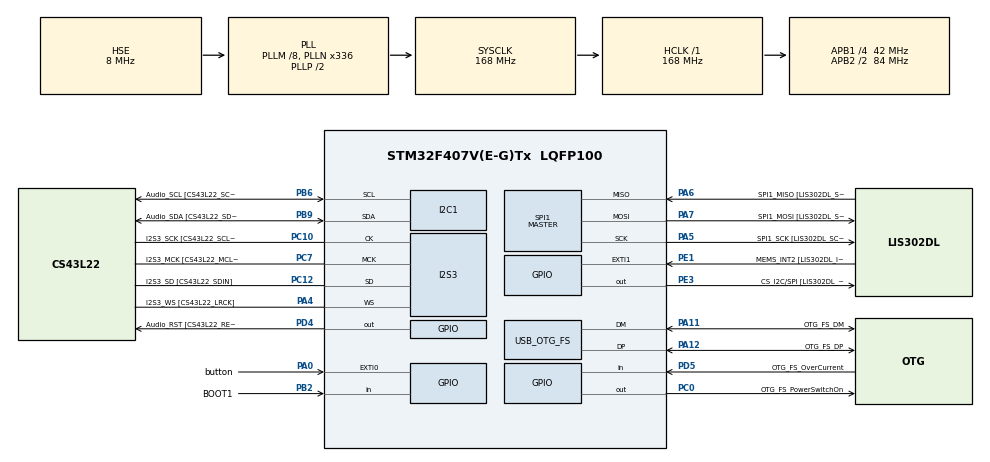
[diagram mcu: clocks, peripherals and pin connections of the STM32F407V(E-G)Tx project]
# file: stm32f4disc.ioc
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Dma.Request0=SPI3_TX
Dma.SPI3_TX.0.Direction=DMA_MEMORY_TO_PERIPH
Dma.SPI3_TX.0.FIFOMode=DMA_FIFOMODE_ENABLE
Dma.SPI3_TX.0.FIFOThreshold=DMA_FIFO_THRESHOLD_FULL
Dma.SPI3_TX.0.Instance=DMA1_Stream5
Dma.SPI3_TX.0.MemBurst=DMA_MBURST_SINGLE
Dma.SPI3_TX.0.MemDataAlignment=DMA_MDATAALIGN_HALFWORD
Dma.SPI3_TX.0.MemInc=DMA_MINC_ENABLE
Dma.SPI3_TX.0.Mode=DMA_CIRCULAR
Dma.SPI3_TX.0.PeriphBurst=DMA_PBURST_SINGLE
Dma.SPI3_TX.0.PeriphDataAlignment=DMA_PDATAALIGN_HALFWORD
Dma.SPI3_TX.0.PeriphInc=DMA_PINC_DISABLE
Dma.SPI3_TX.0.Priority=DMA_PRIORITY_LOW
I2S3.AudioFreq=I2S_AUDIOFREQ_48K
I2S3.AudioFreq-Half_Duplex_Master=I2S_AUDIOFREQ_96K
I2S3.ErrorAudioFreq=-2.34 %
I2S3.ErrorAudioFreq-Half_Duplex_Master=0.8 %
I2S3.FullDuplexMode=I2S_FULLDUPLEXMODE_DISABLE
I2S3.Instance=SPI$Index
I2S3.RealAudioFreq=46.875 KHz
I2S3.RealAudioFreq-Half_Duplex_Master=96.774 KHz
I2S3.Standard=I2S_STANDARD_LSB
I2S3.VirtualMode=I2S_MODE_MASTER
Mcu.Family=STM32F4
Mcu.Name=STM32F407V(E-G)Tx
Mcu.Package=LQFP100
NVIC.DMA1_Stream5_IRQn=true\:0\:0\:false\:false\:true\:false\:true\:true
NVIC.EXTI0_IRQn=true\:0\:0\:false\:false\:true\:true\:true\:true
NVIC.OTG_FS_IRQn=true\:0\:0\:false\:false\:true\:true\:true\:true
NVIC.PVD_IRQn=true\:0\:0\:false\:false\:true\:true\:true\:true
NVIC.PriorityGroup=NVIC_PRIORITYGROUP_0
NVIC.SPI3_IRQn=true\:0\:0\:false\:false\:true\:true\:true\:true
NVIC.TIM1_TRG_COM_TIM11_IRQn=true\:0\:0\:false\:false\:true\:true\:true\:true
NVIC.TIM1_UP_TIM10_IRQn=true\:0\:0\:false\:false\:true\:true\:true\:true
PA0-WKUP.GPIO_Label=button
PA0-WKUP.Signal=GPXTI0
PA10.GPIO_Label=OTG_FS_ID
PA10.GPIO_Mode=GPIO_MODE_AF_PP
PA10.GPIO_PuPd=GPIO_NOPULL
PA10.GPIO_Speed=GPIO_SPEED_FREQ_LOW
PA10.Signal=USB_OTG_FS_ID
PA11.GPIO_Label=OTG_FS_DM
PA11.GPIO_Mode=GPIO_MODE_AF_PP
PA11.GPIO_PuPd=GPIO_NOPULL
PA11.GPIO_Speed=GPIO_SPEED_FREQ_LOW
PA11.Mode=Device_Only
PA11.Signal=USB_OTG_FS_DM
PA12.GPIO_Label=OTG_FS_DP
PA12.GPIO_Mode=GPIO_MODE_AF_PP
PA12.GPIO_PuPd=GPIO_NOPULL
PA12.GPIO_Speed=GPIO_SPEED_FREQ_LOW
PA12.Mode=Device_Only
PA12.Signal=USB_OTG_FS_DP
PA13.GPIO_Label=SWDIO
PA13.Mode=Serial_Wire
PA13.Signal=SYS_JTMS-SWDIO
PA14.GPIO_Label=SWCLK
PA14.Mode=Serial_Wire
PA14.Signal=SYS_JTCK-SWCLK
PA4.GPIO_Label=I2S3_WS [CS43L22_LRCK]
PA4.GPIO_Mode=GPIO_MODE_AF_PP
PA4.GPIO_PuPd=GPIO_NOPULL
PA4.GPIO_Speed=GPIO_SPEED_FREQ_LOW
PA4.Mode=Half_Duplex_Master
PA4.Signal=I2S3_WS
PA5.GPIO_Label=SPI1_SCK [LIS302DL_SCL/SPC]
PA5.GPIO_Mode=GPIO_MODE_AF_PP
PA5.GPIO_PuPd=GPIO_NOPULL
PA5.GPIO_Speed=GPIO_SPEED_FREQ_LOW
PA5.Mode=Full_Duplex_Master
PA5.Signal=SPI1_SCK
PA6.GPIO_Label=SPI1_MISO [LIS302DL_SDO]
PA6.GPIO_Mode=GPIO_MODE_AF_PP
PA6.GPIO_PuPd=GPIO_NOPULL
PA6.GPIO_Speed=GPIO_SPEED_FREQ_LOW
PA6.Mode=Full_Duplex_Master
PA6.Signal=SPI1_MISO
PA7.GPIO_Label=SPI1_MOSI [LIS302DL_SDA/SDI/SDO]
PA7.GPIO_Mode=GPIO_MODE_AF_PP
PA7.GPIO_PuPd=GPIO_NOPULL
PA7.GPIO_Speed=GPIO_SPEED_FREQ_LOW
PA7.Mode=Full_Duplex_Master
PA7.Signal=SPI1_MOSI
PA9.GPIO_Label=VBUS_FS
PA9.GPIO_Mode=GPIO_MODE_INPUT
PA9.GPIO_PuPd=GPIO_NOPULL
PA9.Signal=USB_OTG_FS_VBUS
PB10.GPIO_Label=CLK_IN [MP45DT02_CLK]
PB10.GPIO_Mode=GPIO_MODE_AF_PP
PB10.GPIO_PuPd=GPIO_NOPULL
PB10.GPIO_Speed=GPIO_SPEED_FREQ_LOW
PB10.Signal=I2S2_CK
PB2.GPIO_Label=BOOT1
PB2.GPIO_Mode=GPIO_MODE_INPUT
PB2.GPIO_PuPd=GPIO_NOPULL
PB2.Signal=GPIO_Input
PB3.GPIO_Label=SWO
PB3.Signal=SYS_JTDO-SWO
PB6.GPIO_Label=Audio_SCL [CS43L22_SCL]
PB6.GPIO_Mode=GPIO_MODE_AF_OD
PB6.GPIO_Pu=GPIO_PULLUP
PB6.GPIO_PuPd=GPIO_NOPULL
PB6.GPIO_Speed=GPIO_SPEED_FREQ_LOW
PB6.Mode=I2C
PB6.Signal=I2C1_SCL
PB9.GPIO_Label=Audio_SDA [CS43L22_SDA]
PB9.GPIO_Mode=GPIO_MODE_AF_OD
PB9.GPIO_Pu=GPIO_PULLUP
PB9.GPIO_PuPd=GPIO_NOPULL
PB9.GPIO_Speed=GPIO_SPEED_FREQ_LOW
PB9.Mode=I2C
PB9.Signal=I2C1_SDA
PC0.GPIO_Label=OTG_FS_PowerSwitchOn
PC0.GPIO_PuPd=GPIO_NOPULL
PC0.GPIO_Speed=GPIO_SPEED_FREQ_LOW
PC0.PinState=GPIO_PIN_SET
PC0.Signal=GPIO_Output
PC10.GPIO_Label=I2S3_SCK [CS43L22_SCLK]
PC10.GPIO_Mode=GPIO_MODE_AF_PP
PC10.GPIO_PuPd=GPIO_NOPULL
PC10.GPIO_Speed=GPIO_SPEED_FREQ_LOW
PC10.Mode=Half_Duplex_Master
PC10.Signal=I2S3_CK
PC12.GPIO_Label=I2S3_SD [CS43L22_SDIN]
PC12.GPIO_Mode=GPIO_MODE_AF_PP
PC12.GPIO_PuPd=GPIO_NOPULL
PC12.GPIO_Speed=GPIO_SPEED_FREQ_LOW
PC12.Mode=Half_Duplex_Master
PC12.Signal=I2S3_SD
PC14-OSC32_IN.GPIO_Label=PC14-OSC32_IN
PC14-OSC32_IN.Mode=LSE-External-Oscillator
PC14-OSC32_IN.Signal=RCC_OSC32_IN
PC15-OSC32_OUT.GPIO_Label=PC15-OSC32_OUT
PC15-OSC32_OUT.Mode=LSE-External-Oscillator
PC15-OSC32_OUT.Signal=RCC_OSC32_OUT
PC3.GPIO_Label=PDM_OUT [MP45DT02_DOUT]
PC3.GPIO_Mode=GPIO_MODE_AF_PP
PC3.GPIO_PuPd=GPIO_NOPULL
PC3.GPIO_Speed=GPIO_SPEED_FREQ_LOW
PC3.Signal=I2S2_SD
PC7.GPIO_Label=I2S3_MCK [CS43L22_MCLK]
PC7.GPIO_Mode=GPIO_MODE_AF_PP
PC7.GPIO_PuPd=GPIO_NOPULL
PC7.GPIO_Speed=GPIO_SPEED_FREQ_LOW
PC7.Mode=Master_Clock_Activated
PC7.Signal=I2S3_MCK
PD4.GPIO_Label=Audio_RST [CS43L22_RESET]
PD4.GPIO_PuPd=GPIO_NOPULL
PD4.GPIO_Speed=GPIO_SPEED_FREQ_LOW
PD4.Signal=GPIO_Output
PD5.GPIO_Label=OTG_FS_OverCurrent
PD5.GPIO_Mode=GPIO_MODE_INPUT
PD5.GPIO_PuPd=GPIO_NOPULL
PD5.Signal=GPIO_Input
PE1.GPIO_Label=MEMS_INT2 [LIS302DL_INT2]
PE1.GPIO_ModeDefaultEXTI=GPIO_MODE_EVT_RISING
PE1.GPIO_PuPd=GPIO_NOPULL
PE1.Signal=GPXTI1
PE3.GPIO_Label=CS_I2C/SPI [LIS302DL_CS_I2C/SPI]
PE3.GPIO_PuPd=GPIO_NOPULL
PE3.GPIO_Speed=GPIO_SPEED_FREQ_LOW
PE3.Signal=GPIO_Output
PH0-OSC_IN.GPIO_Label=PH0-OSC_IN
PH0-OSC_IN.Mode=HSE-External-Oscillator
PH0-OSC_IN.Signal=RCC_OSC_IN
PH1-OSC_OUT.GPIO_Label=PH1-OSC_OUT
PH1-OSC_OUT.Mode=HSE-External-Oscillator
PH1-OSC_OUT.Signal=RCC_OSC_OUT
ProjectManager.HeapSize=0x600
ProjectManager.StackSize=0x400
ProjectManager.TargetToolchain=STM32CubeIDE
RCC.48MHZClocksFreq_Value=48000000
RCC.AHBFreq_Value=168000000
RCC.APB1CLKDivider=RCC_HCLK_DIV4
RCC.APB1Freq_Value=42000000
RCC.APB1TimFreq_Value=84000000
RCC.APB2CLKDivider=RCC_HCLK_DIV2
RCC.APB2Freq_Value=84000000
RCC.APB2TimFreq_Value=168000000
RCC.CortexFreq_Value=168000000
RCC.HCLKFreq_Value=168000000
RCC.HSE_VALUE=8000000
RCC.HSI_VALUE=16000000
RCC.PLLM=8
RCC.PLLN=336
RCC.PLLQ=7
RCC.SYSCLKFreq_VALUE=168000000
RCC.SYSCLKSource=RCC_SYSCLKSOURCE_PLLCLK
RCC.VCOOutputFreq_Value=336000000
SPI1.BaudRatePrescaler-Full_Duplex_Master=SPI_BAUDRATEPRESCALER_2
SPI1.CalculateBaudRate-Full_Duplex_Master=42.0 MBits/s
SPI1.Direction=SPI_DIRECTION_2LINES
SPI1.Mode=SPI_MODE_MASTER
SPI1.Mode-Full_Duplex_Master=SPI_MODE_MASTER
SPI1.VirtualType=VM_MASTER
USB_DEVICE.CLASS_NAME_FS=CDC
USB_DEVICE.VirtualMode-CDC_FS=Cdc
USB_DEVICE.VirtualModeFS=Cdc_FS
USB_OTG_FS.VirtualMode=Device_Only
VP_TIM10_VS_ClockSourceINT.Mode=Enable_Timer
VP_TIM11_VS_ClockSourceINT.Mode=Enable_Timer
VP_USB_DEVICE_VS_USB_DEVICE_CDC_FS.Mode=CDC_FS
board=STM32F407G-DISC1

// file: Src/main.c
/* USER CODE BEGIN Header */
/**
******************************************************************************
* @file           : main.c
* @brief          : Main program body
******************************************************************************
* @attention
*
* Copyright (c) 2025 STMicroelectronics.
* All rights reserved.
*
* This software is licensed under terms that can be found in the LICENSE file
* in the root directory of this software component.
* If no LICENSE file comes with this software, it is provided AS-IS.
*
******************************************************************************
*/
/* USER CODE END Header */
#include "main.h"
#include "dma.h"
#include "i2c.h"
#include "i2s.h"
#include "spi.h"
#include "tim.h"
#include "usb_device.h"
#include "gpio.h"

/* USER CODE BEGIN Includes */
#include "usbd_cdc_if.h"
#include "cs43l22.h"
#include "math.h"
#include "stm32f4_discovery.h"
#include "stm32f4_discovery_accelerometer.h"
// #include "usb_device.c"
// #include "usbd_conf.c"

extern PCD_HandleTypeDef hpcd_USB_OTG_FS;
extern USBD_HandleTypeDef hUsbDeviceFS;

/* USER CODE END Includes */

/* USER CODE BEGIN PD */
#define LINE_BUFFER_SIZE 256

// macros to define the sine signal
#define FAST_SIN_FREQ 1000
#define SLOW_SIN_FREQ 500

#define SAMPLING_RATE 48000
#define AUDIO_BUFFER_LENGTH SAMPLING_RATE / SLOW_SIN_FREQ

/* USER CODE END PD */

/* USER CODE BEGIN PV */
const uint8_t ISR_FLAG_RX    = 0x01;  // Received data
const uint8_t ISR_FLAG_TIM10 = 0x02;  // Timer 10 Period elapsed
const uint8_t ISR_FLAG_TIM11 = 0x04;  // Timer 10 Period elapsed
const uint8_t ISR_BUTTON_PRESS = 0x08;  // User button pressed
volatile int16_t accel_data[3];

// This is the only variable that we will modify both in the ISR and in the main loop
// It has to be declared volatile to prevent the compiler from optimizing it out.
volatile uint8_t isr_flags = 0;

// Commands that we will receive from the PC
int status = 0;
int manual = 0;
const int frequ[3] = {200,3000,9000}; // Possible periods for the PWM (in timer ticks)
int duty_cycle= 25;
volatile int period = 200; //in timer ticks
const int duty[3] = {25,50,75}; // Possible duty cycles for the PWM
unsigned long int ticks_elapsed = 0;
char is_recording = 0;
float pwm_freq;
static int current_duty_index = 0;
static int manual_toggle = 0;
// Command Description
// stop Put Board in stop mode
// standby Put Board in standby mode
// changefreq Set the PWM frequency to the next possible value
// changedut Set the PWM duty cycle to the next possible value
// pwmman Set PWM frequency with user button
// ledpwm Set the LED BLINK to PWM mode
// ledman Set the LED BLINK to manual mode
// ledon Turn ON the LED BLINK
// ledoff Turn OFF the LED BLINK
// accon Enable accelerometer readings
// accoff Disable accelerometer readings
// mute Mute audible signal
// unmute Un-mute audible signa

const uint8_t COMMAND_STOP[]        = "stop"; // Go to stop mode
const uint8_t COMMAND_STANDBY[]     = "standby"; // Go to standby mode
const uint8_t COMMAND_CHANGE_FREQ[] = "changefreq"; // Change the PWM frequency
const uint8_t COMMAND_CHANGE_DUTY[] = "changedut"; // Change the PWM duty cycle
const uint8_t COMMAND_PWM_MAN[]    = "pwmman"; // Set PWM frequency with user button
const uint8_t COMMAND_LED_PWM[]    = "ledpwm"; // Set the LED BLINK to PWM mode
const uint8_t COMMAND_LED_MAN[]    = "ledman"; // Set the LED BLINK to manual mode
const uint8_t COMMAND_LED_ON[]     = "ledon"; // Turn ON the LED BLINK
const uint8_t COMMAND_LED_OFF[]    = "ledoff"; // Turn OFF the LED BLINK
const uint8_t COMMAND_ACC_ON[]     = "accon"; // Enable accelerometer readings
const uint8_t COMMAND_ACC_OFF[]    = "accoff"; // Disable accelerometer readings
const uint8_t COMMAND_MUTE[]       = "mute"; // Mute audible signal
const uint8_t COMMAND_UNMUTE[]     = "unmute"; // Un-mute audible signal

// Buffer for command
static uint8_t line_ready_buffer[LINE_BUFFER_SIZE]; // Stable buffer for main

// Audio buffer
int16_t buffer_audio[2 * AUDIO_BUFFER_LENGTH];

/* USER CODE END PV */

void SystemClock_Config(void);
/* USER CODE BEGIN PFP */

// Interrupt handlers
void handle_new_line();

void reset_codec();

void handle_timer10(void);

void handle_timer11(void);

void manual_sample(void);

void init_accellerometer(void);

void de_initPCD(void);

void USB_kill(void);

// Commands
void go_to_stop();

void go_to_standby();

// Helper functions
void init_codec_and_play();

void HAL_TIM_PeriodElapsedCallback(TIM_HandleTypeDef *htim);
/* USER CODE END PFP */

/* USER CODE BEGIN 0 */
void HAL_TIM_PeriodElapsedCallback ( TIM_HandleTypeDef * htim ){
if ( htim -> Instance == htim10.Instance ) {
isr_flags |= ISR_FLAG_TIM10 ;
  }
  else if ( htim -> Instance == htim11.Instance ) {
isr_flags |= ISR_FLAG_TIM11 ;
  }
};
/* USER CODE END 0 */

int main(void)
{

  /* MCU Configuration--------------------------------------------------------*/

  /* Reset of all peripherals, Initializes the Flash interface and the Systick. */
  HAL_Init();

  /* USER CODE BEGIN Init */
  //HAL_NVIC_EnableIRQ(EXTI0_IRQn); //Enabled for USB-recharching

  /* USER CODE END Init */

  /* Configure the system clock */
  SystemClock_Config();

  /* Initialize all configured peripherals */
  MX_GPIO_Init();
  MX_DMA_Init();
  MX_I2C1_Init();
  MX_I2S3_Init();
  MX_SPI1_Init();
  MX_USB_DEVICE_Init();
  MX_TIM10_Init();
  MX_TIM11_Init();
  BSP_LED_Init(LED5); // Initialize LED5 for indication //THIS is used, use led3,4,6
  BSP_LED_Init(LED4); // Initialize LED4 for indication
  BSP_LED_Init(LED3); // Initialize LED3 for indication
  BSP_LED_Init(LED6); // Initialize LED6 for indication
  BSP_ACCELERO_Init(); // Initialize the accelerometer
  init_codec_and_play(); //ATTENTION: this function may need to be removed
  // LED4 = 0,
  // LED3 = 1,
  // LED5 = 2,
  // LED6 = 3
   // Indicate that the system is starting
  /* USER CODE BEGIN 2 */
  CDC_Transmit_FS((uint8_t*)"Unknown command\r\n", 17);

  /* USER CODE END 2 */

  /* Infinite loop */
  /* USER CODE BEGIN WHILE */
  while (1)
  {
    // We check if that there are NO interrupts pending before going into sleep
    if (isr_flags == 0)
    {
      // Go to sleep, waiting for interrupt (WFI).
      HAL_PWR_EnterSLEEPMode(PWR_MAINREGULATOR_ON,PWR_SLEEPENTRY_WFI);
    }

    // This is needed for the UART transmission
    if (isr_flags & ISR_FLAG_RX)
    {
      isr_flags &= ~ISR_FLAG_RX;
      handle_new_line();
    }

    if (isr_flags & ISR_FLAG_TIM10)
    {
      isr_flags &= ~ ISR_FLAG_TIM10 ;
      handle_timer10();
    }

    if (isr_flags & ISR_FLAG_TIM11)
    {
      isr_flags &= ~ ISR_FLAG_TIM11 ;
      handle_timer11();
    }

    if( isr_flags & ISR_BUTTON_PRESS)
    {
      isr_flags &= ~ ISR_BUTTON_PRESS ;
      //CDC_Transmit_FS((uint8_t *)"Button Pressed\r\n",16);
      if(manual){
        manual_sample();
      }else{

          if(manual_toggle){
            BSP_LED_Toggle(LED5);
          }
        //Wake up from stop mode
        //BSP_LED_On(LED6); // Indicate wake up
        // Do nothing
      }

    }
    /* USER CODE END WHILE */

  }
}

void SystemClock_Config(void)
{
  RCC_OscInitTypeDef RCC_OscInitStruct = {0};
  RCC_ClkInitTypeDef RCC_ClkInitStruct = {0};

  /** Configure the main internal regulator output voltage
  */
  __HAL_RCC_PWR_CLK_ENABLE();
  __HAL_PWR_VOLTAGESCALING_CONFIG(PWR_REGULATOR_VOLTAGE_SCALE1);

  /** Initializes the RCC Oscillators according to the specified parameters
  * in the RCC_OscInitTypeDef structure.
  */
  RCC_OscInitStruct.OscillatorType = RCC_OSCILLATORTYPE_HSE;
  RCC_OscInitStruct.HSEState = RCC_HSE_ON;
  RCC_OscInitStruct.PLL.PLLState = RCC_PLL_ON;
  RCC_OscInitStruct.PLL.PLLSource = RCC_PLLSOURCE_HSE;
  RCC_OscInitStruct.PLL.PLLM = 8;
  RCC_OscInitStruct.PLL.PLLN = 336;
  RCC_OscInitStruct.PLL.PLLP = RCC_PLLP_DIV2;
  RCC_OscInitStruct.PLL.PLLQ = 7;
  if (HAL_RCC_OscConfig(&RCC_OscInitStruct) != HAL_OK)
  {
    Error_Handler();
  }

  /** Initializes the CPU, AHB and APB buses clocks
  */
  RCC_ClkInitStruct.ClockType = RCC_CLOCKTYPE_HCLK|RCC_CLOCKTYPE_SYSCLK
                              |RCC_CLOCKTYPE_PCLK1|RCC_CLOCKTYPE_PCLK2;
  RCC_ClkInitStruct.SYSCLKSource = RCC_SYSCLKSOURCE_PLLCLK;
  RCC_ClkInitStruct.AHBCLKDivider = RCC_SYSCLK_DIV1;
  RCC_ClkInitStruct.APB1CLKDivider = RCC_HCLK_DIV4;
  RCC_ClkInitStruct.APB2CLKDivider = RCC_HCLK_DIV2;

  if (HAL_RCC_ClockConfig(&RCC_ClkInitStruct, FLASH_LATENCY_5) != HAL_OK)
  {
    Error_Handler();
  }
}

/* USER CODE BEGIN 4 */
void reset_codec()
{
  cs43l22_stop();
  HAL_Delay(10); // Small delay to ensure proper reset

  pwm_freq = 1000.0f / (period + 1); //this is in seconds

    //Sine signal is proportional in frequency to PWM signal. => faster PWM = faster sine wave
  for(int i = 0; i < AUDIO_BUFFER_LENGTH;i++)
  {
    buffer_audio[2 * i] = 10000 * sin(2 * 3.14 * (1000* pwm_freq )* i / SAMPLING_RATE);
    buffer_audio[2 * i + 1] = 10000 * sin(2 * 3.14 * (1000*pwm_freq) * i / SAMPLING_RATE);
  }
  //stop was better than re-init
    cs43l22_play(buffer_audio, 2 * AUDIO_BUFFER_LENGTH);
}
// All of this is used to manage commands from serial interface
static uint8_t line_buffer[LINE_BUFFER_SIZE];
static uint32_t line_len = 0;
void CDC_ReceiveCallBack(uint8_t *buf, uint32_t len)
{
  // Prevent overflow, does not handle the command
  if (line_len + len >= LINE_BUFFER_SIZE)
  {
    line_len = 0;
    return;
  }

  // Append received chunk
  memcpy(&line_buffer[line_len], buf, len);
  line_len += len;

  // Process all complete lines
  while (1)
  {
    // Look for '\n' or '\r' inside line_buffer
    uint8_t *line_feed = memchr(line_buffer, '\n', line_len);
    if (line_feed == NULL){
      line_feed = memchr(line_buffer, '\r', line_len);
      if (line_feed == NULL)
      break;
    }

    // Replace \n or \r by terminator
    *line_feed = '\0';

    // Remove optional '\r' in case input was \r\n
    if (line_feed > line_buffer && *(line_feed - 1) == '\r')
    *(line_feed - 1) = '\0';

    uint32_t processed = (line_feed + 1) - line_buffer;

    // Signal the main that there is a new line ready to be checked
    memcpy(line_ready_buffer, line_buffer, processed);
    isr_flags |= ISR_FLAG_RX;

    // Move leftover bytes to start
    line_len -= processed;
    memmove(line_buffer, line_buffer + processed, line_len);
  }
}

void manual_sample(void) {
  //HAL_TIM_Base_Stop_IT(&htim10);
  static uint32_t last_button_tick = 0;
  const uint32_t debounce_delay = 150; // 50 ms debounce time

  uint32_t current_tick = HAL_GetTick();
  if (current_tick - last_button_tick < debounce_delay) {
      // Ignore button press if within debounce period
      return;
  }
  last_button_tick = current_tick;

  if (manual) {
      if (is_recording == 0) {
          // Start recording
          ticks_elapsed = current_tick;
          is_recording = 1;
          BSP_LED_On(LED5);
      } else {
          // Stop recording
          ticks_elapsed = current_tick - ticks_elapsed;
          is_recording = 0;
          BSP_LED_Off(LED5);
          // Send result to PC
            if (ticks_elapsed > (65535 / 2.4) ) { // Check if ticks_elapsed exceeds 2.4 of 65535
              ticks_elapsed = (65535 / 2.4); // Cap the value to the maximum allowed
              CDC_Transmit_FS((uint8_t*)"Warning: Elapsed time capped to Maximum ticks\r\n", 41);
            }
            // char msg[50];
            // int msg_len = snprintf(msg, sizeof(msg), "Elapsed time: %lu ms\r\n", ticks_elapsed);
            // CDC_Transmit_FS((uint8_t*)msg, msg_len);
          //period = ticks_elapsed;

            manual = 0;

            period = ticks_elapsed*2.4; //This is to account double the clock frequency for TIM10,since APB2 is used. TODO: CHECK!
            duty_cycle=50;
            reset_codec();
            init_PWM(period, 50, 65535); //Prescaler 65535 MAX prescaler
            char msg[150];
            int msg_len = snprintf(msg, sizeof(msg), "Setting LED to manual mode with last recorded time: %lu ms and period %d\r\n", ticks_elapsed,period);
            CDC_Transmit_FS((uint8_t*)msg, msg_len);

      }
  } else {
      return;
  }

}

void Kill_USB(void)
{
  USBD_Stop(&hUsbDeviceFS);
}

void de_initPCD(void)
{
  HAL_PCD_DeInit(&hpcd_USB_OTG_FS);
}

void init_accellerometer(void)
{
    HAL_TIM_Base_Stop_IT(&htim11);
    // Configure prescaler and period for desired frequency
    uint32_t prescaler = 8399; // Assuming APB1 timer clock is 84 MHz
    htim11.Instance = TIM11;
    htim11.Init.Prescaler = prescaler;
    htim11.Init.CounterMode = TIM_COUNTERMODE_UP;
    htim11.Init.Period = 99;
    htim11.Init.ClockDivision = TIM_CLOCKDIVISION_DIV1;
    htim11.Init.AutoReloadPreload = TIM_AUTORELOAD_PRELOAD_DISABLE;

    if (HAL_TIM_Base_Init(&htim11) != HAL_OK)
    {
      Error_Handler();
    }

    // Reset counter
    __HAL_TIM_SET_COUNTER(&htim11, 0);

    if (HAL_TIM_Base_Start_IT(&htim11) != HAL_OK)
    {
      Error_Handler();
    }
}

void init_PWM(int period, float duty_cycle, uint32_t Prescaler)
{
  // Stop TIM10
  HAL_TIM_Base_Stop_IT(&htim10);

  // Configure prescaler and period for desired frequency
  //uint32_t prescaler = 167; // Assuming APB1 timer clock is 84 MHz
  htim10.Instance = TIM10;
  htim10.Init.Prescaler = Prescaler;
  htim10.Init.CounterMode = TIM_COUNTERMODE_UP;

  int duty_cycle_period= (duty_cycle * period) / 100;

  htim10.Init.Period = duty_cycle_period;

  // char msg[50];
  // int msg_len = snprintf(msg, sizeof(msg), "htim10.Init.Period updated to %lu\r\n", duty_cycle_period);
  // CDC_Transmit_FS((uint8_t*)msg, msg_len);

  htim10.Init.ClockDivision = TIM_CLOCKDIVISION_DIV1;
  htim10.Init.AutoReloadPreload = TIM_AUTORELOAD_PRELOAD_DISABLE;

  if (HAL_TIM_Base_Init(&htim10) != HAL_OK)
  {
    Error_Handler();
  }

  // Reset counter
  __HAL_TIM_SET_COUNTER(&htim10, 0);
  //Start high phase
  status = 1;
  BSP_LED_On(LED5);
  // Start TIM10 with interrupt
  if (HAL_TIM_Base_Start_IT(&htim10) != HAL_OK)
  {
    Error_Handler();
  }
}

void change_duty()
{
  current_duty_index = (current_duty_index + 1) % 3; // Cycle through 0, 1, 2
  duty_cycle= duty[current_duty_index];
  char msg[50];
  int msg_len = snprintf(msg, sizeof(msg), "PWM duty cycle changed to %d %%\r\n", duty_cycle);
  CDC_Transmit_FS((uint8_t*)msg, msg_len);
  init_PWM(period, duty_cycle,65535);

};

void change_freq()
{
  static int current_freq_index = 0;
  current_freq_index = (current_freq_index + 1) % 3; // Cycle through 0, 1, 2
  period= frequ[current_freq_index];

  char msg[50];
  int msg_len = snprintf(msg, sizeof(msg), "PWM period changed to %d \r\n", frequ[current_freq_index]);
  CDC_Transmit_FS((uint8_t*)msg, msg_len);

  reset_codec();

  init_PWM(period, duty_cycle,65535);

  // init_codec_and_play();
}

void handle_timer10(void)
{
  // Clear the flag
  isr_flags &= ~ISR_FLAG_TIM10;
  //CDC_Transmit_FS((uint8_t*)"Ping\r\n", 17);

  /* USER CODE BEGIN TIM1_UP_TIM10_IRQn 1 */
  //HAL_GPIO_TogglePin ( LED5_GPIO_PORT, LED5_PIN ) ; //This was adeded to toggle the LED on timer interrupt

  if (manual)
  {
      return;
  } else {

    if (status == 0)
  {

    uint32_t high_ticks = (uint32_t)((duty_cycle / 100.0f) * period);

      __HAL_TIM_SET_AUTORELOAD(&htim10, (uint32_t)high_ticks);
      //  char msg[70];
      //  int msg_len = snprintf(msg, sizeof(msg), "Prescaler: %lu, autoreload timer(HIGH): %lu\r\n", TIM10->PSC, TIM10->ARR);
      //  CDC_Transmit_FS((uint8_t*)msg, msg_len);

      status = 1;
      BSP_LED_On(LED5);
  }
  else
  {

    uint32_t low_ticks  = (uint32_t)(((100.0f - duty_cycle) / 100.0f) * period);

      __HAL_TIM_SET_AUTORELOAD(&htim10, (uint32_t)low_ticks);
      // char msg[70];
      // int msg_len = snprintf(msg, sizeof(msg), "Low ticks: %lu, autoreload timer: %lu\r\n", (uint32_t)low_ticks, __HAL_TIM_GET_AUTORELOAD(&htim10));
      // CDC_Transmit_FS((uint8_t*)msg, msg_len);
      status = 0;
      BSP_LED_Off(LED5);
  }

  __HAL_TIM_SET_COUNTER (& htim10 ,0) ;

  }

}

void handle_timer11(void)
{
  // Clear the flag
  isr_flags &= ~ISR_FLAG_TIM11;

  BSP_ACCELERO_GetXYZ(accel_data);

  // Determine the axis with the largest absolute value
  int16_t abs_x = abs(accel_data[0]);
  int16_t abs_y = abs(accel_data[1]);
  int16_t abs_z = abs(accel_data[2]);

  // Turn on the LED corresponding to the largest axis
  if (abs_x >= abs_y && abs_x >= abs_z) {
      BSP_LED_On(LED4);  // X axis
      BSP_LED_Off(LED6);
      BSP_LED_Off(LED3);
  }
  else if (abs_y >= abs_x && abs_y >= abs_z) {
      BSP_LED_Off(LED3);
      BSP_LED_On(LED6);  // Y axis
      BSP_LED_Off(LED4);
  }
  else {
      BSP_LED_Off(LED6);
      BSP_LED_Off(LED4);
      BSP_LED_On(LED3);  // Z axis
  }

  // char msg[64];
  // int len = snprintf(msg, sizeof(msg), "Accel X:%d Y:%d Z:%d\r\n", accel_data[0], accel_data[1], accel_data[2]);
  // CDC_Transmit_FS((uint8_t*)msg, len);

  return;
}

/**
* @brief  Handle possible new command
* @retval None
*/
void handle_new_line()
{
  if (memcmp(line_ready_buffer, COMMAND_CHANGE_FREQ, sizeof(COMMAND_CHANGE_FREQ)) == 0)
  {
    manual_toggle = 0;
    manual=0;
    change_freq();
  }

  else if (memcmp(line_ready_buffer, COMMAND_STOP, sizeof(COMMAND_STOP)) == 0)
  {
    manual_toggle = 0;

    go_to_stop();
  }

  else if (memcmp(line_ready_buffer, COMMAND_PWM_MAN, sizeof(COMMAND_PWM_MAN)) == 0)
{
  manual_toggle = 0;
  BSP_LED_Off(LED5);
  manual = 1;
  status = 0;
  HAL_TIM_Base_Stop_IT(&htim10);

} else if (memcmp(line_ready_buffer, COMMAND_LED_PWM, sizeof(COMMAND_LED_PWM)) == 0)
  {
    manual = 0;
    manual_toggle = 0;
    char msg[50];
    int msg_len = snprintf(msg, sizeof(msg), "Current LED period: %d ticks \r\n", frequ[current_duty_index]);
    CDC_Transmit_FS((uint8_t*)msg, msg_len);
    init_PWM(period, duty_cycle,65535); //Prescaler 65535 MAX prescaler

  } else if (memcmp(line_ready_buffer, COMMAND_LED_MAN, sizeof(COMMAND_LED_MAN)) == 0)
  {
    manual_toggle = 1;
    HAL_TIM_Base_Stop_IT(&htim10);

    // manual = 0;

    // period = ticks_elapsed*2.4; //This is to account double the clock frequency for TIM10,since APB2 is used. TODO: CHECK!
    // duty_cycle=50;
    // reset_codec();
    // init_PWM(period, 50, 65535); //Prescaler 65535 MAX prescaler
    // char msg[150];
    // int msg_len = snprintf(msg, sizeof(msg), "Setting LED to manual mode with last recorded time: %lu ms and period %d\r\n", ticks_elapsed,period);
    // CDC_Transmit_FS((uint8_t*)msg, msg_len);

  } else if (memcmp(line_ready_buffer, COMMAND_LED_ON, sizeof(COMMAND_LED_ON)) == 0)
  {
    manual_toggle = 1;
    HAL_TIM_Base_Stop_IT(&htim10);
    manual = 0;
    BSP_LED_On(LED5);

  } else if (memcmp(line_ready_buffer, COMMAND_LED_OFF, sizeof(COMMAND_LED_OFF)) == 0)
  {
    manual_toggle = 1;
    HAL_TIM_Base_Stop_IT(&htim10);
    manual = 0;
    BSP_LED_Off(LED5);

  } else if (memcmp(line_ready_buffer, COMMAND_ACC_ON, sizeof(COMMAND_ACC_ON)) == 0)
  {
    manual_toggle = 0;
    manual=0;
    init_accellerometer();

  } else if (memcmp(line_ready_buffer, COMMAND_ACC_OFF, sizeof(COMMAND_ACC_OFF)) == 0)
  {
    manual_toggle = 0;
    manual=0;
    HAL_TIM_Base_Stop_IT(&htim11);
    BSP_LED_Off(LED3);
    BSP_LED_Off(LED4);
    BSP_LED_Off(LED6);

  } else if (memcmp(line_ready_buffer, COMMAND_MUTE, sizeof(COMMAND_MUTE)) == 0)
  {
    manual_toggle = 0;
    manual=0;
    cs43l22_mute();
  } else if (memcmp(line_ready_buffer, COMMAND_UNMUTE, sizeof(COMMAND_UNMUTE)) == 0)
  {
    manual_toggle = 0;
    manual=0;
    //init_codec_and_play();
    cs43l22_unmute();

  } else if(memcmp(line_ready_buffer, COMMAND_CHANGE_DUTY, sizeof(COMMAND_CHANGE_DUTY)) == 0)
  {
    manual_toggle = 0;
    manual=0;

    change_duty();
  } else if(memcmp(line_ready_buffer, COMMAND_STANDBY, sizeof(COMMAND_STANDBY)) == 0)
  {
    go_to_standby();
  }

  else
  {
    // If we receive an unknown command, we send an error message back to the PC
    CDC_Transmit_FS((uint8_t*)"Unknown command\r\n", 17);
  }
}

void init_codec_and_play()
{
  cs43l22_init();
  // sine signal
  // for(int i = 0; i < AUDIO_BUFFER_LENGTH;i++)
  // {
  //   buffer_audio[2 * i] = 10000 * sin(2 * 3.14 * SLOW_SIN_FREQ * i / SAMPLING_RATE);
  //   buffer_audio[2 * i + 1] = 10000 * sin(2 * 3.14 * SLOW_SIN_FREQ * i / SAMPLING_RATE);
  // }
  pwm_freq = 1000.0f / (period + 1);

  //Sine signal is proportional in frequency to PWM signal. => faster PWM = faster sine wave
  for(int i = 0; i < AUDIO_BUFFER_LENGTH;i++)
  {
    buffer_audio[2 * i] = 10000 * sin(2 * 3.14 * pwm_freq * i / SAMPLING_RATE);
    buffer_audio[2 * i + 1] = 10000 * sin(2 * 3.14 * pwm_freq * i / SAMPLING_RATE);
  }

  // char msg[100];
  // int msg_len = snprintf(msg, sizeof(msg), "Playing sine wave at frequency: %.2f Hz\r\n", pwm_freq);
  // CDC_Transmit_FS((uint8_t*)msg, msg_len);
  cs43l22_play(buffer_audio, 2 * AUDIO_BUFFER_LENGTH);
}

/**
* @brief Go to stop mode
* @retval None
*/
void go_to_stop()
{
  BSP_LED_Off(LED3);
  BSP_LED_Off(LED4);
  BSP_LED_Off(LED5);
  BSP_LED_Off(LED6);

  // TODO: Make sure all user LEDS are off
  // To avoid noise during stop mode
  cs43l22_stop();

  // Required otherwise the audio wont work after wakeup
  HAL_I2S_DeInit(&hi2s3);

  // We disable the systick interrupt before going to stop (1ms tick)
  // Otherwise we would be woken up every 1ms
  //This was done since the USB Device was not being waken up properly after
  //a stop
  Kill_USB();
  de_initPCD();
  HAL_GPIO_WritePin(GPIOA, GPIO_PIN_12, GPIO_PIN_RESET); // USB DP pin low
  HAL_Delay(10);
  HAL_GPIO_WritePin(GPIOA, GPIO_PIN_15, GPIO_PIN_RESET); // USB DP pin high
  HAL_Delay(10);

  HAL_SuspendTick();

  __HAL_PWR_CLEAR_FLAG(PWR_FLAG_WU);
  //User push buttons wakes up from stop
  HAL_PWR_EnableWakeUpPin(PWR_WAKEUP_PIN1);

  HAL_PWR_EnterSTOPMode(PWR_MAINREGULATOR_ON, PWR_SLEEPENTRY_WFI);

  // We need to reconfigure the system clock after waking up.
  // After exiting from stop mode, the system clock is reset to the default
  // which is not the same we configure in cubeMx, so we do it as done
  // during the init, by calling SystemClock_Config().
  SystemClock_Config();
  HAL_ResumeTick();
  MX_USB_DEVICE_Init();

  // Required otherwise the audio wont work after wakeup

  // MX_GPIO_Init();
  // MX_DMA_Init();
  // MX_I2C1_Init();
  // MX_I2S3_Init();
  // MX_SPI1_Init();
  // //MX_USB_DEVICE_Init();
  // MX_TIM10_Init();
  // MX_TIM11_Init();
  // BSP_LED_Init(LED5); // Initialize LED5 for indication //THIS is used, use led3,4,6
  // BSP_LED_Init(LED4); // Initialize LED4 for indication
  // BSP_LED_Init(LED3); // Initialize LED3 for indication
  // BSP_LED_Init(LED6); // Initialize LED6 for indication
  // BSP_ACCELERO_Init(); // Initialize the accelerometer

  MX_I2S3_Init();
  //__enable_irq();

  //MX_USB_DEVICE_Init(); //I added this since it wasn't expecting commands after waking up
  init_codec_and_play();
}

void go_to_standby()
{

  // Turn off all LEDs to save power
  BSP_LED_Off(LED3);
  BSP_LED_Off(LED4);
  BSP_LED_Off(LED5);
  BSP_LED_Off(LED6);

  cs43l22_stop();

  HAL_SuspendTick();

  //Flags required to enter standby mode
  __HAL_PWR_CLEAR_FLAG(PWR_FLAG_WU);
  __HAL_PWR_CLEAR_FLAG(PWR_FLAG_SB);

  // __HAL_PWR_CLEAR_FLAG(PWR_FLAG_WU);
  //Reset will wakeup
  //HAL_PWR_EnableWakeUpPin(PWR_WAKEUP_PIN1);

  // Enter standby mode
  HAL_PWR_EnterSTANDBYMode();

}

/* USER CODE END 4 */

void Error_Handler(void)
{
  __disable_irq();
  while (1)
  {
  }
}
